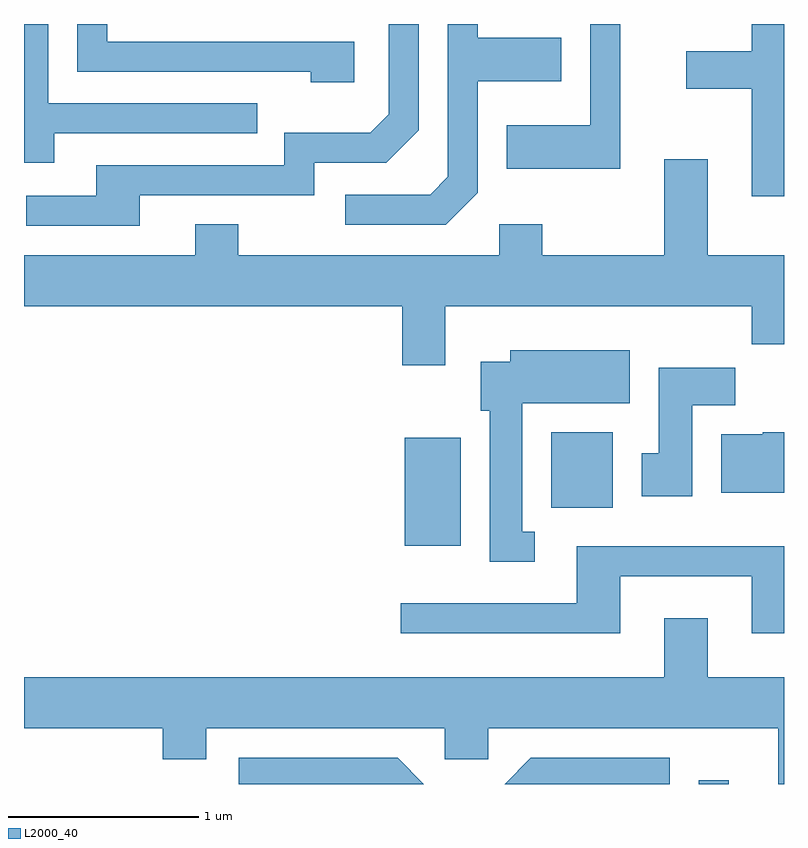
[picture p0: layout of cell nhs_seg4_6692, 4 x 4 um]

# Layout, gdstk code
import gdstk
lib = gdstk.Library(unit=1e-6, precision=1e-09)
def R(c, l, rs):  # rectangles x0, y0, x1, y1
    for r in rs: c.add(gdstk.rectangle(r[:2], r[2:], *l))
def P(c, l, *ps):  # polygons
    for p in ps: c.add(gdstk.Polygon(p, *l))
L2000_40 = (2000, 40)

nhs_seg4_6692 = lib.new_cell('nhs_seg4_6692')
R(nhs_seg4_6692, L2000_40, [(385.161,1309.982,385.319,1310.003), (383.616,1311.236,383.909,1311.804), (384.386,1311.436,384.709,1311.834)])
P(nhs_seg4_6692, L2000_40, [(383.999,1313.094),(383.999,1313.681),(384.439,1313.681),(384.439,1313.909),(383.999,1313.909),(383.999,1313.982),(383.841,1313.982),(383.841,1313.177),(383.749,1313.084),(383.303,1313.084),(383.303,1312.926),(383.832,1312.926)],
  [(382.219,1313.081),(383.139,1313.081),(383.139,1313.251),(383.517,1313.251),(383.689,1313.424),(383.689,1313.982),(383.531,1313.982),(383.531,1313.507),(383.434,1313.409),(382.981,1313.409),(382.981,1313.239),(381.991,1313.239),(381.991,1313.079),(381.623,1313.079),(381.623,1312.921),(382.219,1312.921)],
  [(383.349,1313.889),(382.049,1313.889),(382.049,1313.982),(381.891,1313.982),(381.891,1313.731),(383.121,1313.731),(383.121,1313.676),(383.349,1313.676)],
  [(384.749,1313.982),(384.591,1313.982),(384.591,1313.449),(384.151,1313.449),(384.151,1313.221),(384.749,1313.221)],
  [(381.769,1313.406),(382.838,1313.406),(382.838,1313.564),(381.739,1313.564),(381.739,1313.982),(381.611,1313.982),(381.611,1313.251),(381.769,1313.251)],
  [(385.611,1313.982),(385.441,1313.982),(385.441,1313.839),(385.096,1313.839),(385.096,1313.641),(385.441,1313.641),(385.441,1313.076),(385.611,1313.076)],
  [(383.829,1312.496),(385.441,1312.496),(385.441,1312.296),(385.611,1312.296),(385.611,1312.764),(385.209,1312.764),(385.209,1313.269),(384.981,1313.269),(384.981,1312.764),(384.339,1312.764),(384.339,1312.929),(384.111,1312.929),(384.111,1312.764),(382.739,1312.764),(382.739,1312.929),(382.511,1312.929),(382.511,1312.764),(381.611,1312.764),(381.611,1312.496),(383.601,1312.496),(383.601,1312.186),(383.829,1312.186)],
  [(384.298,1311.309),(384.234,1311.309),(384.234,1311.986),(384.799,1311.986),(384.799,1312.264),(384.171,1312.264),(384.171,1312.204),(384.016,1312.204),(384.016,1311.946),(384.061,1311.946),(384.061,1311.151),(384.298,1311.151)],
  [(385.129,1311.976),(385.354,1311.976),(385.354,1312.174),(384.951,1312.174),(384.951,1311.724),(384.861,1311.724),(384.861,1311.496),(385.129,1311.496)],
  [(385.611,1311.834),(385.5,1311.834),(385.5,1311.824),(385.281,1311.824),(385.281,1311.516),(385.611,1311.516)],
  [(384.749,1311.076),(385.441,1311.076),(385.441,1310.776),(385.611,1310.776),(385.611,1311.234),(384.521,1311.234),(384.521,1310.934),(383.593,1310.934),(383.593,1310.776),(384.749,1310.776)],
  [(385.611,1310.544),(385.209,1310.544),(385.209,1310.854),(384.981,1310.854),(384.981,1310.544),(381.611,1310.544),(381.611,1310.276),(382.341,1310.276),(382.341,1310.111),(382.569,1310.111),(382.569,1310.276),(383.826,1310.276),(383.826,1310.111),(384.054,1310.111),(384.054,1310.276),(385.581,1310.276),(385.581,1309.982),(385.611,1309.982)],
  [(383.577,1310.119),(382.741,1310.119),(382.741,1309.982),(383.714,1309.982)],
  [(385.009,1310.119),(384.279,1310.119),(384.142,1309.982),(385.009,1309.982)])

lib.write_gds('nhs_seg4_6692.gds')
